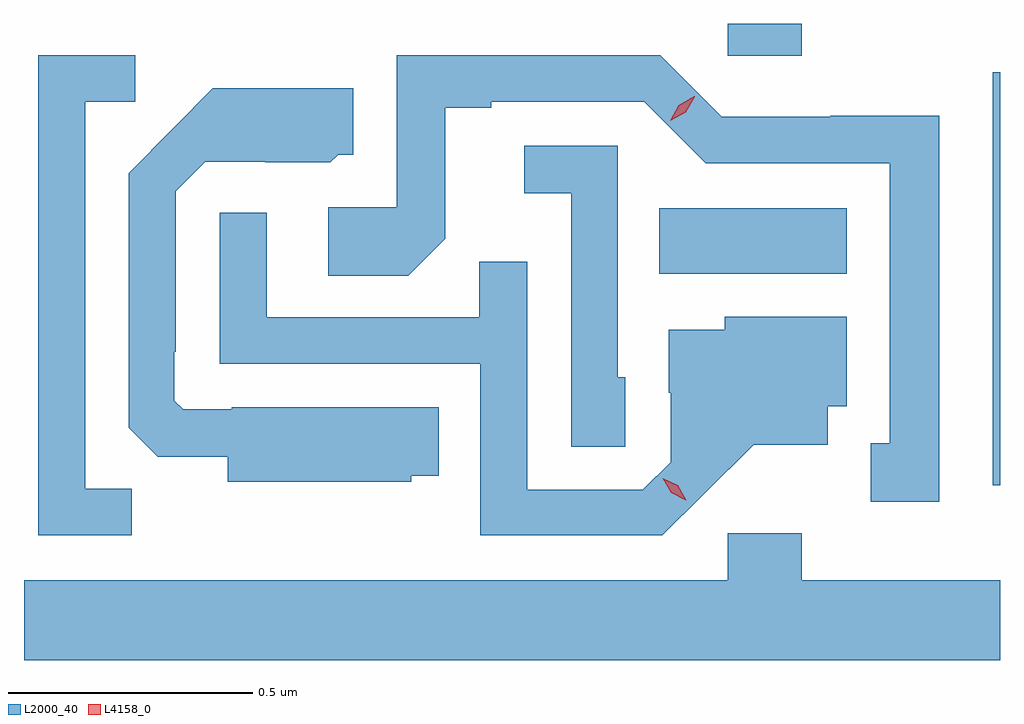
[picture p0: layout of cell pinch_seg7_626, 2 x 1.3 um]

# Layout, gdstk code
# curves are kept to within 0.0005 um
import gdstk
lib = gdstk.Library(unit=1e-6, precision=1e-09)
def R(c, l, rs):  # rectangles x0, y0, x1, y1
    for r in rs: c.add(gdstk.rectangle(r[:2], r[2:], *l))
def P(c, l, *ps):  # polygons
    for p in ps: c.add(gdstk.Polygon(p, *l))
L2000_40 = (2000, 40)
L4158_0 = (4158, 0)

pinch_seg7_626 = lib.new_cell('pinch_seg7_626')
R(pinch_seg7_626, L2000_40, [(179.787,1058.25,179.802,1059.097), (179.104,1058.684,179.488,1058.818), (179.244,1059.131,179.396,1059.196)])
P(pinch_seg7_626, L2000_40, [(179.677,1059.008),(179.454,1059.008),(179.454,1059.006),(179.232,1059.006),(179.106,1059.132),(178.566,1059.132),(178.566,1058.82),(178.425,1058.82),(178.425,1058.68),(178.589,1058.68),(178.665,1058.756),(178.665,1059.024),(178.759,1059.024),(178.759,1059.036),(179.073,1059.036),(179.199,1058.91),(179.576,1058.91),(179.576,1058.337),(179.537,1058.337),(179.537,1058.217),(179.677,1058.217)],
  [(178.023,1058.243),(177.927,1058.243),(177.927,1059.036),(178.03,1059.036),(178.03,1059.132),(177.831,1059.132),(177.831,1058.148),(178.023,1058.148)],
  [(178.596,1058.27),(178.652,1058.27),(178.652,1058.41),(178.228,1058.41),(178.228,1058.406),(178.128,1058.406),(178.11,1058.424),(178.11,1058.524),(178.113,1058.524),(178.113,1058.853),(178.173,1058.913),(178.296,1058.913),(178.296,1058.912),(178.43,1058.912),(178.446,1058.928),(178.477,1058.928),(178.477,1059.064),(178.189,1059.064),(178.017,1058.89),(178.017,1058.368),(178.076,1058.309),(178.22,1058.309),(178.22,1058.258),(178.596,1058.258)],
  [(179.034,1058.472),(179.019,1058.472),(179.019,1058.946),(178.827,1058.946),(178.827,1058.849),(178.923,1058.849),(178.923,1058.329),(179.034,1058.329)],
  [(179.194,1058.231),(179.297,1058.333),(179.449,1058.333),(179.449,1058.412),(179.488,1058.412),(179.488,1058.596),(179.238,1058.596),(179.238,1058.569),(179.123,1058.569),(179.123,1058.44),(179.127,1058.44),(179.127,1058.298),(179.07,1058.241),(178.833,1058.241),(178.833,1058.708),(178.735,1058.708),(178.735,1058.595),(178.299,1058.595),(178.299,1058.809),(178.203,1058.809),(178.203,1058.499),(178.737,1058.499),(178.737,1058.148),(179.11,1058.148)],
  [(179.802,1058.056),(179.396,1058.056),(179.396,1058.152),(179.244,1058.152),(179.244,1058.056),(177.802,1058.056),(177.802,1057.892),(179.802,1057.892)])
P(pinch_seg7_626, L4158_0, [(179.126,1058.997),(179.126,1058.997),(179.144,1059.029),(179.175,1059.048),(179.176,1059.048),(179.176,1059.047),(179.158,1059.015),(179.126,1058.997)],
  [(179.158,1058.22),(179.128,1058.235),(179.111,1058.265),(179.111,1058.265),(179.111,1058.265),(179.142,1058.25),(179.159,1058.22),(179.159,1058.22)])

lib.write_gds('pinch_seg7_626.gds')
